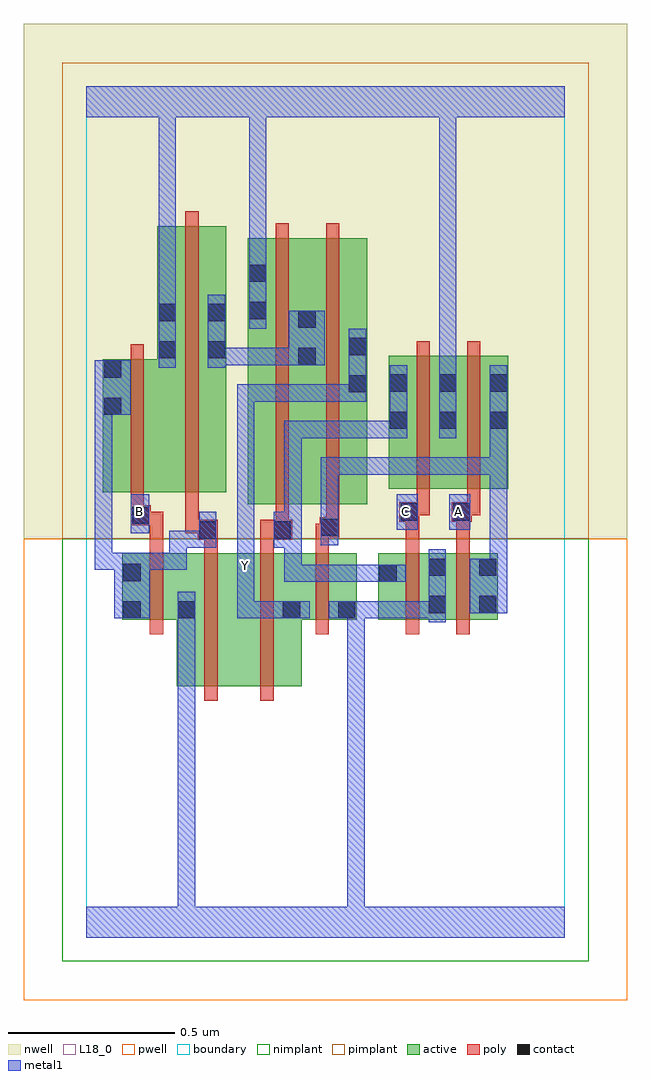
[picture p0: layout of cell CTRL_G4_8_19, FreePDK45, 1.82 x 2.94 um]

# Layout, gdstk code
import gdstk
lib = gdstk.Library(unit=1e-6, precision=1e-09)
def R(c, l, rs):  # rectangles x0, y0, x1, y1
    for r in rs: c.add(gdstk.rectangle(r[:2], r[2:], *l))
active = (1, 0)
pwell = (2, 0)
nwell = (3, 0)
nimplant = (4, 0)
pimplant = (5, 0)
poly = (9, 0)
contact = (10, 0)
metal1 = (11, 0)
L18_0 = (18, 0)
boundary = (235, 0)

ctrl_g4_8_19 = lib.new_cell('CTRL_G4_8_19')
R(ctrl_g4_8_19, active, [(0.272,0.756,0.332,1.156), (0.272,0.756,0.452,1.156), (0.452,0.756,0.648,1.156), (0.588,0.756,0.648,1.156), (0.108,0.956,0.168,1.156), (0.108,0.956,0.332,1.156), (0.588,0.956,0.814,1.156), (0.754,0.956,0.814,1.156), (0.878,0.956,0.938,1.156), (0.878,0.956,1.086,1.156), (1.026,0.956,1.238,1.156), (1.026,0.956,1.086,1.144), (1.178,0.956,1.238,1.156), (0.486,1.304,0.546,2.044), (0.486,1.304,0.694,2.104), (0.634,1.304,0.846,2.104), (0.786,1.304,0.846,2.044), (0.05,1.34,0.11,1.74), (0.05,1.34,0.274,1.74), (0.214,1.34,0.422,2.14), (0.362,1.34,0.422,2.044), (0.91,1.35,0.97,1.75), (0.91,1.35,1.118,1.75), (1.058,1.35,1.27,1.75), (1.21,1.35,1.27,1.75), (0.214,1.362,0.274,1.91), (1.058,1.366,1.118,1.75), (0.634,1.558,0.694,2.044)])
R(ctrl_g4_8_19, pwell, [(-0.188,-0.188,1.628,1.2)])
R(ctrl_g4_8_19, nwell, [(-0.188,1.2,1.628,2.748)])
R(ctrl_g4_8_19, nimplant, [(-0.072,-0.072,1.512,1.2)])
R(ctrl_g4_8_19, pimplant, [(-0.072,1.2,1.512,2.632)])
R(ctrl_g4_8_19, poly, [(0.356,0.712,0.396,1.2), (0.524,0.712,0.564,1.2), (0.192,0.912,0.232,1.2), (0.69,0.912,0.73,1.2), (0.962,0.912,1.002,1.2), (1.114,0.912,1.154,1.2), (0.192,1.16,0.232,1.28), (0.356,1.16,0.396,1.236), (0.524,1.16,0.564,1.236), (0.69,1.16,0.73,1.244), (0.962,1.16,1.002,1.29), (1.114,1.16,1.154,1.29), (0.336,1.196,0.396,1.256), (0.524,1.196,0.62,1.256), (0.69,1.204,0.742,1.244), (0.702,1.204,0.742,1.244), (0.702,1.204,0.762,1.264), (0.298,1.216,0.338,1.336), (0.298,1.216,0.376,1.256), (0.336,1.216,0.376,1.256), (0.57,1.216,0.61,1.256), (0.57,1.216,0.61,1.256), (0.57,1.216,0.61,1.3), (0.722,1.224,0.762,1.3), (0.134,1.24,0.194,1.3), (0.154,1.24,0.194,1.28), (0.154,1.24,0.232,1.28), (0.942,1.25,1.002,1.31), (1.1,1.25,1.16,1.31), (0.134,1.26,0.174,1.336), (0.57,1.26,0.61,2.148), (0.722,1.26,0.762,2.148), (0.962,1.27,1.002,1.31), (0.962,1.27,1.034,1.31), (0.994,1.27,1.034,1.346), (1.12,1.27,1.16,1.31), (1.12,1.27,1.186,1.31), (1.146,1.27,1.186,1.346), (0.134,1.296,0.174,1.784), (0.298,1.296,0.338,2.184), (0.994,1.306,1.034,1.794), (1.146,1.306,1.186,1.794)])
R(ctrl_g4_8_19, contact, [(0.112,0.96,0.164,1.012), (0.276,0.96,0.328,1.012), (0.592,0.96,0.644,1.012), (0.758,0.96,0.81,1.012), (1.03,0.976,1.082,1.028), (1.182,0.976,1.234,1.028), (0.882,1.07,0.934,1.122), (0.112,1.072,0.164,1.124), (1.03,1.088,1.082,1.14), (1.182,1.088,1.234,1.14), (0.34,1.2,0.392,1.252), (0.564,1.2,0.616,1.252), (0.706,1.208,0.758,1.26), (0.138,1.244,0.19,1.296), (0.946,1.254,0.998,1.306), (1.104,1.254,1.156,1.306), (0.914,1.53,0.966,1.582), (1.062,1.53,1.114,1.582), (1.214,1.53,1.266,1.582), (0.054,1.572,0.106,1.624), (0.79,1.64,0.842,1.692), (0.914,1.642,0.966,1.694), (1.062,1.642,1.114,1.694), (1.214,1.642,1.266,1.694), (0.054,1.684,0.106,1.736), (0.638,1.722,0.69,1.774), (0.218,1.742,0.27,1.794), (0.366,1.742,0.418,1.794), (0.79,1.752,0.842,1.804), (0.638,1.834,0.69,1.886), (0.218,1.854,0.27,1.906), (0.366,1.854,0.418,1.906), (0.49,1.86,0.542,1.912), (0.49,1.972,0.542,2.024)])
R(ctrl_g4_8_19, metal1, [(0,0,1.44,0.092), (0.276,0.04,0.328,0.092), (0.276,0.04,0.328,0.092), (0.276,0.04,0.328,0.092), (0.276,0.04,0.328,0.092), (0.276,0.04,0.328,0.092), (0.276,0.04,0.328,0.092), (0.276,0.04,0.328,0.092), (0.276,0.04,0.328,0.092), (0.276,0.04,0.328,0.092), (0.276,0.04,0.328,0.092), (0.276,0.04,0.328,0.092), (0.276,0.04,0.328,0.092), (0.276,0.04,0.328,0.984), (0.786,0.04,0.838,0.092), (0.786,0.04,0.838,0.092), (0.786,0.04,0.838,1.012), (0.276,0.932,0.328,1.04), (1.03,0.948,1.082,1.168), (0.084,0.96,0.192,1.124), (0.454,0.96,0.506,1.012), (0.454,0.96,0.616,1.012), (0.454,0.96,0.506,1.118), (0.564,0.96,0.616,1.012), (0.564,0.96,0.616,1.012), (0.564,0.96,0.672,1.012), (0.73,0.96,0.838,1.012), (0.786,0.96,0.838,1.012), (0.786,0.96,0.838,1.012), (0.786,0.96,0.838,1.012), (0.786,0.96,0.838,1.012), (0.786,0.96,0.838,1.012), (0.786,0.96,0.838,1.012), (0.786,0.96,0.838,1.012), (0.786,0.96,0.838,1.012), (0.786,0.96,0.838,1.012), (0.786,0.96,0.838,1.012), (0.786,0.96,0.838,1.012), (0.786,0.96,0.838,1.012), (0.786,0.96,0.838,1.012), (0.786,0.96,0.838,1.012), (0.786,0.96,0.948,1.012), (0.896,0.96,0.948,1.012), (0.896,0.96,0.948,1.012), (0.896,0.96,0.948,1.012), (0.896,0.96,1.082,1.012), (1.154,0.976,1.266,1.14), (0.454,1.066,0.506,1.174), (0.596,1.07,0.758,1.122), (0.596,1.07,0.648,1.224), (0.706,1.07,0.758,1.122), (0.706,1.07,0.758,1.122), (0.706,1.07,0.758,1.122), (0.706,1.07,0.876,1.122), (0.824,1.07,0.876,1.122), (0.824,1.07,0.876,1.122), (0.824,1.07,0.962,1.122), (0.084,1.072,0.136,1.158), (1.214,1.088,1.266,1.444), (1.214,1.088,1.266,1.14), (1.214,1.088,1.266,1.14), (0.026,1.106,0.078,1.158), (0.026,1.106,0.078,1.158), (0.026,1.106,0.078,1.624), (0.026,1.106,0.136,1.158), (0.084,1.106,0.136,1.158), (0.084,1.106,0.136,1.158), (0.084,1.106,0.302,1.158), (0.25,1.106,0.302,1.224), (0.454,1.122,0.506,1.664), (0.25,1.172,0.392,1.224), (0.34,1.172,0.392,1.28), (0.564,1.172,0.616,1.28), (0.564,1.172,0.648,1.224), (0.596,1.172,0.648,1.554), (0.706,1.18,0.758,1.288), (0.134,1.216,0.19,1.334), (0.934,1.226,0.998,1.334), (1.092,1.226,1.156,1.334), (0.706,1.236,0.758,1.288), (0.706,1.236,0.758,1.444), (0.706,1.392,0.972,1.444), (0.92,1.392,0.972,1.444), (0.92,1.392,0.972,1.444), (0.92,1.392,0.972,1.444), (0.92,1.392,1.082,1.444), (1.03,1.392,1.082,1.444), (1.03,1.392,1.266,1.444), (1.214,1.392,1.266,1.554), (1.214,1.392,1.266,1.444), (1.214,1.392,1.266,1.444), (1.214,1.392,1.266,1.444), (0.596,1.502,0.648,1.554), (0.596,1.502,0.648,1.554), (0.596,1.502,0.648,1.554), (0.596,1.502,0.758,1.554), (0.706,1.502,0.758,1.554), (0.706,1.502,0.758,1.554), (0.706,1.502,0.758,1.554), (0.706,1.502,0.966,1.554), (0.914,1.502,0.966,1.722), (1.062,1.502,1.114,1.722), (1.214,1.502,1.266,1.722), (0.026,1.572,0.134,1.736), (0.454,1.612,0.506,1.664), (0.454,1.612,0.506,1.664), (0.454,1.612,0.506,1.664), (0.454,1.612,0.506,1.664), (0.454,1.612,0.506,1.664), (0.454,1.612,0.632,1.664), (0.58,1.612,0.632,1.664), (0.58,1.612,0.632,1.664), (0.58,1.612,0.632,1.664), (0.58,1.612,0.742,1.664), (0.69,1.612,0.742,1.664), (0.69,1.612,0.842,1.664), (0.79,1.612,0.842,1.832), (1.062,1.67,1.114,2.52), (0.218,1.714,0.27,1.934), (0.366,1.714,0.418,1.934), (0.366,1.722,0.418,1.774), (0.366,1.722,0.418,1.774), (0.366,1.722,0.528,1.774), (0.476,1.722,0.528,1.774), (0.476,1.722,0.662,1.774), (0.61,1.722,0.718,1.886), (0.49,1.832,0.542,2.052), (0.218,1.882,0.27,1.934), (0.218,1.882,0.27,1.934), (0.218,1.882,0.27,2.52), (0.49,2,0.542,2.052), (0.49,2,0.542,2.052), (0.49,2,0.542,2.052), (0.49,2,0.542,2.052), (0.49,2,0.542,2.052), (0.49,2,0.542,2.052), (0.49,2,0.542,2.52), (0,2.468,1.44,2.56), (0.218,2.468,0.27,2.52), (0.218,2.468,0.27,2.52), (0.218,2.468,0.27,2.52), (0.218,2.468,0.27,2.52), (0.218,2.468,0.27,2.52), (0.218,2.468,0.27,2.52), (0.49,2.468,0.542,2.52), (0.49,2.468,0.542,2.52), (1.062,2.468,1.114,2.52), (1.062,2.468,1.114,2.52), (1.062,2.468,1.114,2.52), (1.062,2.468,1.114,2.52), (1.062,2.468,1.114,2.52), (1.062,2.468,1.114,2.52), (1.062,2.468,1.114,2.52), (1.062,2.468,1.114,2.52), (1.062,2.468,1.114,2.52), (1.062,2.468,1.114,2.52), (1.062,2.468,1.114,2.52), (1.062,2.468,1.114,2.52), (1.062,2.468,1.114,2.52), (1.062,2.468,1.114,2.52), (1.062,2.468,1.114,2.52), (1.062,2.468,1.114,2.52)])
R(ctrl_g4_8_19, L18_0, [(0,0,1.44,0.092), (0.276,0.04,0.328,0.092), (0.276,0.04,0.328,0.092), (0.276,0.04,0.328,0.092), (0.276,0.04,0.328,0.092), (0.276,0.04,0.328,0.092), (0.276,0.04,0.328,0.092), (0.276,0.04,0.328,0.092), (0.276,0.04,0.328,0.092), (0.276,0.04,0.328,0.092), (0.276,0.04,0.328,0.092), (0.276,0.04,0.328,0.092), (0.276,0.04,0.328,0.092), (0.276,0.04,0.328,0.984), (0.786,0.04,0.838,0.092), (0.786,0.04,0.838,0.092), (0.786,0.04,0.838,1.012), (0.276,0.932,0.328,1.04), (1.03,0.948,1.082,1.168), (0.454,0.96,0.506,1.012), (0.454,0.96,0.506,1.118), (0.454,0.96,0.616,1.012), (0.564,0.96,0.616,1.012), (0.564,0.96,0.616,1.012), (0.564,0.96,0.672,1.012), (0.73,0.96,0.838,1.012), (0.786,0.96,0.838,1.012), (0.786,0.96,0.838,1.012), (0.786,0.96,0.838,1.012), (0.786,0.96,0.838,1.012), (0.786,0.96,0.838,1.012), (0.786,0.96,0.838,1.012), (0.786,0.96,0.838,1.012), (0.786,0.96,0.838,1.012), (0.786,0.96,0.838,1.012), (0.786,0.96,0.838,1.012), (0.786,0.96,0.838,1.012), (0.786,0.96,0.838,1.012), (0.786,0.96,0.838,1.012), (0.786,0.96,0.838,1.012), (0.786,0.96,0.948,1.012), (0.896,0.96,0.948,1.012), (0.896,0.96,0.948,1.012), (0.896,0.96,0.948,1.012), (0.896,0.96,1.082,1.012), (0.454,1.066,0.506,1.174), (0.454,1.094,0.506,1.146), (0.454,1.122,0.506,1.664), (0.134,1.216,0.19,1.334), (0.934,1.226,0.998,1.334), (1.092,1.226,1.156,1.334), (0.134,1.254,0.186,1.306), (0.934,1.254,0.986,1.306), (1.094,1.254,1.146,1.306), (1.062,1.502,1.114,1.722), (0.454,1.612,0.506,1.664), (0.454,1.612,0.506,1.664), (0.454,1.612,0.506,1.664), (0.454,1.612,0.506,1.664), (0.454,1.612,0.506,1.664), (0.454,1.612,0.632,1.664), (0.58,1.612,0.632,1.664), (0.58,1.612,0.632,1.664), (0.58,1.612,0.632,1.664), (0.58,1.612,0.742,1.664), (0.69,1.612,0.742,1.664), (0.69,1.612,0.842,1.664), (0.79,1.612,0.842,1.832), (1.062,1.67,1.114,2.52), (0.218,1.714,0.27,1.934), (0.49,1.832,0.542,2.052), (0.218,1.882,0.27,1.934), (0.218,1.882,0.27,1.934), (0.218,1.882,0.27,2.52), (0.49,2,0.542,2.052), (0.49,2,0.542,2.052), (0.49,2,0.542,2.052), (0.49,2,0.542,2.052), (0.49,2,0.542,2.052), (0.49,2,0.542,2.052), (0.49,2,0.542,2.52), (0,2.468,1.44,2.56), (0.218,2.468,0.27,2.52), (0.218,2.468,0.27,2.52), (0.218,2.468,0.27,2.52), (0.218,2.468,0.27,2.52), (0.218,2.468,0.27,2.52), (0.218,2.468,0.27,2.52), (0.49,2.468,0.542,2.52), (0.49,2.468,0.542,2.52), (1.062,2.468,1.114,2.52), (1.062,2.468,1.114,2.52), (1.062,2.468,1.114,2.52), (1.062,2.468,1.114,2.52), (1.062,2.468,1.114,2.52), (1.062,2.468,1.114,2.52), (1.062,2.468,1.114,2.52), (1.062,2.468,1.114,2.52), (1.062,2.468,1.114,2.52), (1.062,2.468,1.114,2.52), (1.062,2.468,1.114,2.52), (1.062,2.468,1.114,2.52), (1.062,2.468,1.114,2.52), (1.062,2.468,1.114,2.52), (1.062,2.468,1.114,2.52), (1.062,2.468,1.114,2.52)])
R(ctrl_g4_8_19, boundary, [(0,0,1.44,2.56)])
ctrl_g4_8_19.add(gdstk.Label('A', (1.12,1.28), layer=11, texttype=0))
ctrl_g4_8_19.add(gdstk.Label('B', (0.16,1.28), layer=11, texttype=0))
ctrl_g4_8_19.add(gdstk.Label('C', (0.96,1.28), layer=11, texttype=0))
ctrl_g4_8_19.add(gdstk.Label('Y', (0.48,1.12), layer=11, texttype=0))

lib.write_gds('CTRL_G4_8_19.gds')
